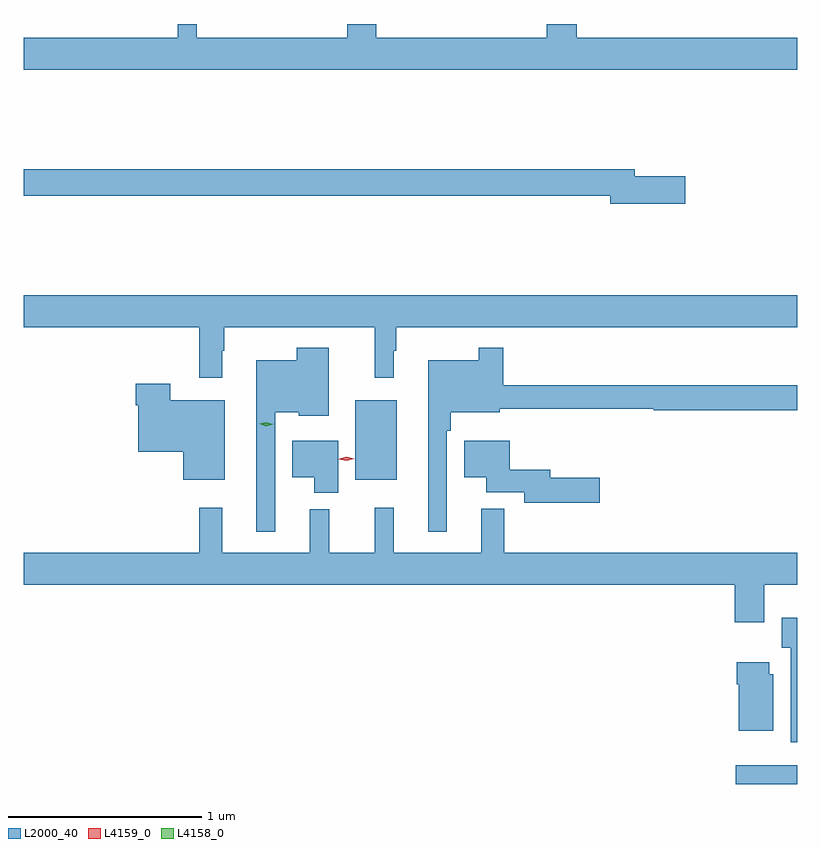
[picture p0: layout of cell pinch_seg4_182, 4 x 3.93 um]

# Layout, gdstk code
import gdstk
lib = gdstk.Library(unit=1e-6, precision=1e-09)
def R(c, l, rs):  # rectangles x0, y0, x1, y1
    for r in rs: c.add(gdstk.rectangle(r[:2], r[2:], *l))
def P(c, l, *ps):  # polygons
    for p in ps: c.add(gdstk.Polygon(p, *l))
L2000_40 = (2000, 40)
L4158_0 = (4158, 0)
L4159_0 = (4159, 0)

pinch_seg4_182 = lib.new_cell('pinch_seg4_182')
R(pinch_seg4_182, L2000_40, [(1094.841,789.128,1095.159,789.225), (1092.872,790.703,1093.087,791.113)])
P(pinch_seg4_182, L2000_40, [(1095.159,792.988),(1094.018,792.988),(1094.018,793.06),(1093.865,793.06),(1093.865,792.988),(1092.981,792.988),(1092.981,793.06),(1092.833,793.06),(1092.833,792.988),(1092.053,792.988),(1092.053,793.06),(1091.955,793.06),(1091.955,792.988),(1091.159,792.988),(1091.159,792.824),(1095.159,792.824)],
  [(1094.581,792.272),(1094.32,792.272),(1094.32,792.308),(1091.159,792.308),(1091.159,792.172),(1094.192,792.172),(1094.192,792.13),(1094.581,792.13)],
  [(1092.184,791.369),(1092.196,791.369),(1092.196,791.492),(1092.973,791.492),(1092.973,791.229),(1093.072,791.229),(1093.072,791.369),(1093.084,791.369),(1093.084,791.492),(1095.159,791.492),(1095.159,791.656),(1091.159,791.656),(1091.159,791.492),(1092.067,791.492),(1092.067,791.229),(1092.184,791.229)],
  [(1092.459,791.051),(1092.582,791.051),(1092.582,791.033),(1092.736,791.033),(1092.736,791.386),(1092.571,791.386),(1092.571,791.32),(1092.362,791.32),(1092.362,790.434),(1092.459,790.434)],
  [(1093.347,790.955),(1093.367,790.955),(1093.367,791.051),(1093.621,791.051),(1093.621,791.07),(1094.417,791.07),(1094.417,791.062),(1095.159,791.062),(1095.159,791.191),(1093.64,791.191),(1093.64,791.386),(1093.512,791.386),(1093.512,791.32),(1093.25,791.32),(1093.25,790.434),(1093.347,790.434)],
  [(1092.199,791.113),(1091.916,791.113),(1091.916,791.2),(1091.738,791.2),(1091.738,791.087),(1091.75,791.087),(1091.75,790.847),(1091.984,790.847),(1091.984,790.703),(1092.199,790.703)],
  [(1094.137,790.713),(1093.882,790.713),(1093.882,790.755),(1093.672,790.755),(1093.672,790.903),(1093.436,790.903),(1093.436,790.715),(1093.55,790.715),(1093.55,790.637),(1093.748,790.637),(1093.748,790.583),(1094.137,790.583)],
  [(1092.784,790.903),(1092.548,790.903),(1092.548,790.715),(1092.662,790.715),(1092.662,790.634),(1092.784,790.634)],
  [(1094.989,790.16),(1095.159,790.16),(1095.159,790.324),(1093.643,790.324),(1093.643,790.552),(1093.526,790.552),(1093.526,790.324),(1093.073,790.324),(1093.073,790.558),(1092.973,790.558),(1092.973,790.324),(1092.738,790.324),(1092.738,790.549),(1092.638,790.549),(1092.638,790.324),(1092.185,790.324),(1092.185,790.558),(1092.067,790.558),(1092.067,790.324),(1091.159,790.324),(1091.159,790.16),(1094.837,790.16),(1094.837,789.966),(1094.989,789.966)],
  [(1095.159,789.988),(1095.08,789.988),(1095.08,789.834),(1095.125,789.834),(1095.125,789.345),(1095.159,789.345)],
  [(1095.037,789.696),(1095.016,789.696),(1095.016,789.757),(1094.846,789.757),(1094.846,789.644),(1094.858,789.644),(1094.858,789.404),(1095.037,789.404)])
P(pinch_seg4_182, L4158_0, [(1092.412,790.98),(1092.377,790.992),(1092.377,790.992),(1092.377,790.992),(1092.413,791),(1092.448,790.989),(1092.449,790.989),(1092.448,790.989)])
P(pinch_seg4_182, L4159_0, [(1092.828,790.8),(1092.786,790.807),(1092.786,790.808),(1092.786,790.808),(1092.827,790.82),(1092.868,790.812),(1092.868,790.812),(1092.868,790.812)])

lib.write_gds('pinch_seg4_182.gds')
